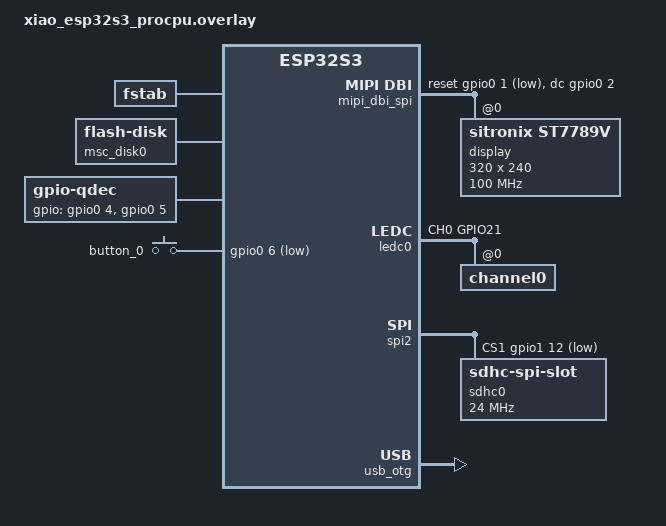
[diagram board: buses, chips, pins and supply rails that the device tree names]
/*
 * Copyright (c) 2026 marble <marble@computer-in.love>
 *
 * SPDX-License-Identifier: Apache-2.0
 */

#include <zephyr/dt-bindings/input/input-event-codes.h>
#include <zephyr/dt-bindings/mipi_dbi/mipi_dbi.h>
#include <zephyr/dt-bindings/pwm/pwm.h>

#define MADCTL_ORDER_BGR (1<<3)
#define MADCTL_SWAP_XY (1<<5)
#define MADCTL_MIRROR_X (1<<6)
#define MADCTL_MIRROR_Y (1<<7)

/ {
	chosen {
		zephyr,display = &display;
		zephyr,console = &cdc_acm_uart0;             /* in modules/zephyr/boards/seeed/xiao_esp32s3/xiao_esp32s3_procpu_common.dtsi:16 */
		zephyr,shell-uart = &cdc_acm_uart0;          /* in modules/zephyr/boards/seeed/xiao_esp32s3/xiao_esp32s3_procpu_common.dtsi:17 */
	};
	
	fstab {
		compatible = "zephyr,fstab";

		flash_ffs: flash_ffs {
			compatible = "zephyr,fstab,fatfs";
			//automount;
			disk-access;
			mount-point = "/FLASH:";
		};

		sd_ffs: sd_ffs {
			compatible = "zephyr,fstab,fatfs";
			//automount;
			disk-access;
			mount-point = "/SD:";
		};
	};

	msc_disk0 {
	 	status = "okay";
	 	compatible = "zephyr,flash-disk";
     	partition = <&storage_partition>;
	 	disk-name = "FLASH"; /* IMPORTANT: Matches C code LUN definiton */
	 	sector-size= <512>;
	 	cache-size = <4096>;
	};

	mipi_dbi_spi {
		compatible = "zephyr,mipi-dbi-spi";
		spi-dev = <&spi2>;
		dc-gpios = <&gpio0 2 GPIO_ACTIVE_HIGH>;
		reset-gpios = <&gpio0 1 GPIO_ACTIVE_LOW>;
		#address-cells = <1>;
		#size-cells = <0>;
		display: st7789v@0 {
			compatible = "sitronix,st7789v";
			reg = <0>;
			mipi-max-frequency = <DT_FREQ_M(100)>;
			mipi-mode = "MIPI_DBI_MODE_SPI_4WIRE";
			width = <320>;
			height = <240>;
			x-offset = <0>;
			y-offset = <0>;
			vcom = <0x20>;
			gctrl = <0x35>;
			mdac = <0xA0>; /* RGB order, swap XY, mirror Y */
			lcm = <0x2c>;
			colmod = <0x55>; /* RGB565 16bit */
			gamma = <0x01>;
			porch-param = [0c 0c 00 33 33];
			cmd2en-param = [5a 69 02 01];
			pwctrl1-param = [a4 a1];
			pvgam-param = [d0 00 02 07 0a 28 32 44 42 06 0e 12 14 17];
			nvgam-param = [d0 00 02 07 0a 28 31 54 47 0e 1c 17 1b 1e];
			ram-param = [00 f0];
			rgb-param = [40 02 14];
		};
	};

	encoder {
		compatible = "zephyr,lvgl-encoder-input";
		rotation-input-code = <INPUT_REL_WHEEL>;
		button-input-code = <INPUT_KEY_0>;
	};

	qdec {
        compatible = "gpio-qdec";
        gpios = <&gpio0 4 (GPIO_PULL_UP | GPIO_ACTIVE_HIGH)>,
                <&gpio0 5 (GPIO_PULL_UP | GPIO_ACTIVE_HIGH)>;
        steps-per-period = <4>;
        zephyr,axis = <INPUT_REL_WHEEL>;
        sample-time-us = <2000>;
        idle-timeout-ms = <200>;
	};

	buttons {
		compatible = "gpio-keys";
		button_0 {
			gpios = <&gpio0 6 (GPIO_PULL_UP | GPIO_ACTIVE_LOW)>;
			zephyr,code = <INPUT_KEY_0>;
		};
	};
};

&pinctrl {
	ledc0_default: ledc0_default {
		group1 {
			pinmux = <LEDC_CH0_GPIO21>;
			output-enable;
		};
	};
};

&ledc0 {
	pinctrl-0 = <&ledc0_default>;
	pinctrl-names = "default";
	status = "okay";
	#address-cells = <1>;
	#size-cells = <0>;

	channel0@0 {
		reg = <0x0>;
		timer = <0>;
        inverted;
	};
};


/delete-node/ &sdhc0;
&spi2 {
	status = "okay";
	dma-enabled;
	dmas = <&dma 0>, <&dma 1>;
	dma-names = "rx", "tx";
	cs-gpios = <&gpio0 3 GPIO_ACTIVE_LOW>, <&gpio1 12 (GPIO_PULL_UP | GPIO_ACTIVE_LOW)>;

	sdhc0: sdhc@1 {
		compatible = "zephyr,sdhc-spi-slot";
		reg = <1>;
		status = "okay";
		mmc {
			compatible = "zephyr,sdmmc-disk";
			disk-name = "SD";
			status = "okay";
		};
		spi-max-frequency = <24000000>;
	};

};

&dma {
    status = "okay";
};

&i2c0 {
	status = "disabled";
};

zephyr_udc0: &usb_otg {
	status = "okay";
	cdc_acm_uart0: cdc_acm_uart0 {
			compatible = "zephyr,cdc-acm-uart";
			label = "CDC_ACM_0";
	};
};

&uart0{
	status = "disabled";
};
